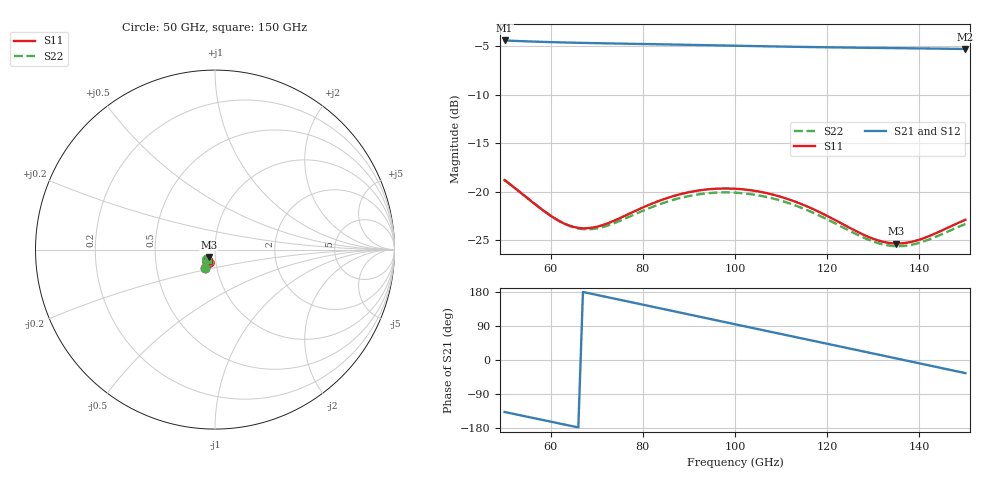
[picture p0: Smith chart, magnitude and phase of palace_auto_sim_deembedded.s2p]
! Created with skrf 1.11.0 (http://scikit-rf.org).
# GHz S DB R 50.0
!freq dBS11 angS11 dBS21 angS21 dBS12 angS12 dBS22 angS22
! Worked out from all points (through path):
!   101 points, 50 GHz to 150 GHz, reference 50 ohm
!   highest |S21| = -4.41 dB at 50 GHz (marker M1); lowest = -5.3 dB at 150 GHz (marker M2)
!   group delay of S21, straight-line fit = 7.16 ps
!   lowest |S11| = -25.4 dB at 135 GHz (marker M3), VSWR 1.11, Z = 46.5 - j3.88 ohm
!   |S11| at or under -10 dB: start of sweep to end of sweep
!   |S22| runs from -25.6 to -18.8 dB; largest |S21 - S12| = 3.7e-16
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50  -18.82 -118.3  -4.41 -137.2  -4.41 -137.2  -18.82 -119.2
56  -21.08 -121.0  -4.52 -152.5  -4.52 -152.5  -21.06 -122.3
61  -22.81 -117.2  -4.59 -165.2  -4.59 -165.2  -22.80 -119.4
64  -23.52 -112.4  -4.63 -172.9  -4.63 -172.9  -23.54 -115.0
67  -23.80 -106.6  -4.66 179.5  -4.66 179.5  -23.88 -109.6
71  -23.51 -99.8  -4.70 169.2  -4.70 169.2  -23.70 -103.1
75  -22.75 -96.1  -4.73 158.9  -4.73 158.9  -23.03 -99.3
79  -21.86 -95.8  -4.77 148.6  -4.77 148.6  -22.20 -98.9
84  -20.88 -98.9  -4.81 135.7  -4.81 135.7  -21.25 -101.9
92  -19.90 -108.5  -4.88 115.0  -4.88 115.0  -20.30 -111.4
96  -19.71 -114.2  -4.91 104.7  -4.91 104.7  -20.11 -117.1
100  -19.71 -120.2  -4.95 94.3  -4.95 94.3  -20.12 -123.1
108  -20.29 -131.5  -5.02 73.7  -5.02 73.7  -20.69 -134.6
112  -20.86 -136.3  -5.06 63.4  -5.06 63.4  -21.26 -139.5
117  -21.83 -140.9  -5.09 50.6  -5.09 50.6  -22.20 -144.2
126  -24.02 -141.6  -5.15 27.4  -5.15 27.4  -24.33 -145.4
130  -24.88 -137.7  -5.17 17.1  -5.17 17.1  -25.16 -141.9
134  -25.34 -131.3  -5.20 6.7  -5.20 6.7  -25.61 -136.1
135  -25.37 -129.5  -5.20 4.2  -5.20 4.2  -25.64 -134.5
138  -25.23 -124.4  -5.22 -3.6  -5.22 -3.6  -25.53 -129.8
142  -24.63 -119.2  -5.24 -13.9  -5.24 -13.9  -24.97 -125.0
150  -22.91 -116.8  -5.29 -34.7  -5.29 -34.7  -23.35 -122.9
